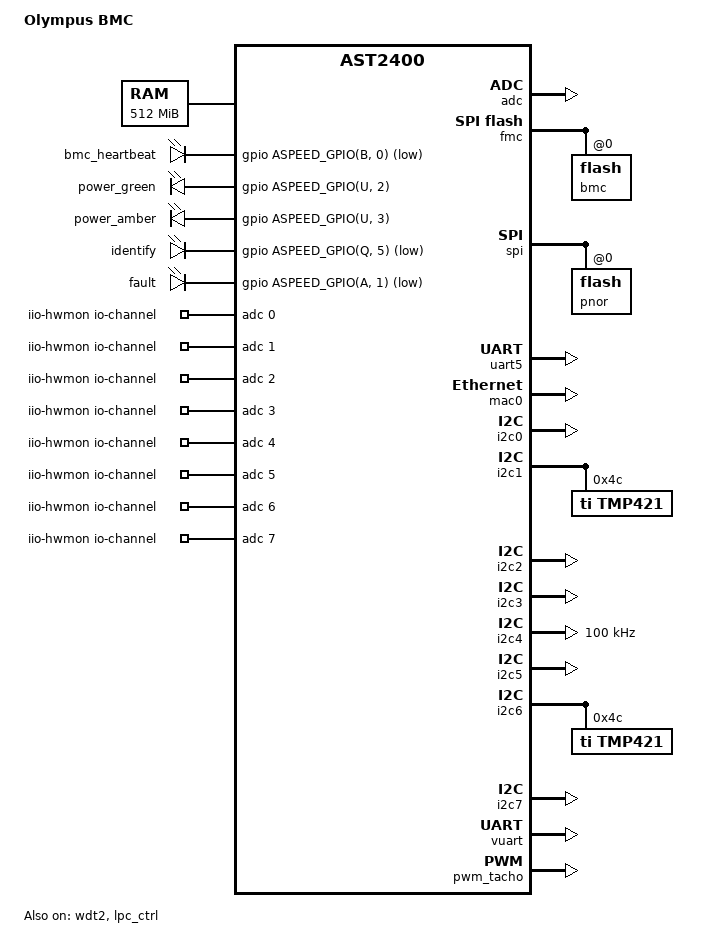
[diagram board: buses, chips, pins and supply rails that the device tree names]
//SPDX-License-Identifier: GPL-2.0+

/dts-v1/;

#include "aspeed-g4.dtsi"
#include <dt-bindings/gpio/aspeed-gpio.h>

/ {
	model = "Olympus BMC";
	compatible = "microsoft,olympus-bmc", "aspeed,ast2400";

	chosen {
		stdout-path = &uart5;
		bootargs = "console=ttyS4,115200 earlyprintk";
	};

	memory@40000000 {
		reg = <0x40000000 0x20000000>;
	};

	reserved-memory {
		#address-cells = <1>;
		#size-cells = <1>;
		ranges;

		vga_memory: framebuffer@5f000000 {
			no-map;
			reg = <0x5f000000 0x01000000>; /* 16M */
		};
	};

	leds {
		compatible = "gpio-leds";

		bmc_heartbeat {
			gpios = <&gpio ASPEED_GPIO(B, 0) GPIO_ACTIVE_LOW>;
		};

		power_green {
			gpios = <&gpio ASPEED_GPIO(U, 2) GPIO_ACTIVE_HIGH>;
		};

		power_amber {
			gpios = <&gpio ASPEED_GPIO(U, 3) GPIO_ACTIVE_HIGH>;
		};

		identify {
			gpios = <&gpio ASPEED_GPIO(Q, 5) GPIO_ACTIVE_LOW>;
		};

		fault {
			gpios = <&gpio ASPEED_GPIO(A, 1) GPIO_ACTIVE_LOW>;
		};
	};


	iio-hwmon {
		compatible = "iio-hwmon";
		io-channels = <&adc 0>, <&adc 1>, <&adc 2>, <&adc 3>,
		<&adc 4>, <&adc 5>, <&adc 6>, <&adc 7>;
	};
};

&adc {
	status = "okay";
	pinctrl-names = "default";
	pinctrl-0 =    <&pinctrl_adc0_default
			&pinctrl_adc1_default
			&pinctrl_adc2_default
			&pinctrl_adc3_default
			&pinctrl_adc4_default
			&pinctrl_adc5_default
			&pinctrl_adc6_default
			&pinctrl_adc7_default>;
};

&fmc {
	status = "okay";

	flash@0 {
		status = "okay";
		m25p,fast-read;
		label = "bmc";
#include "openbmc-flash-layout.dtsi"
	};
};

&spi {
	status = "okay";
	pinctrl-names = "default";
	pinctrl-0 = <&pinctrl_spi1_default>;

	flash@0 {
		status = "okay";
		m25p,fast-read;
		label = "pnor";
	};
};

&uart5 {
	status = "okay";
};

&mac0 {
	status = "okay";

	pinctrl-names = "default";
	pinctrl-0 = <&pinctrl_rgmii1_default &pinctrl_mdio1_default>;
};

&i2c0 {
	status = "okay";
};

&i2c1 {
	status = "okay";

	tmp421@4c {
		compatible = "ti,tmp421";
		reg = <0x4c>;
	};
};

&i2c2 {
	status = "okay";
};

&i2c3 {
	status = "okay";
};

&i2c4 {
	status = "okay";
	clock-frequency = <100000>;
};

&i2c5 {
	status = "okay";
};

&i2c6 {
	status = "okay";

	tmp421@4c {
		compatible = "ti,tmp421";
		reg = <0x4c>;
	};
};

&i2c7 {
	status = "okay";
};

&vuart {
	status = "okay";
};

&wdt2 {
	status = "okay";
};

&lpc_ctrl {
	status = "okay";
};

&pwm_tacho {
	status = "okay";
	pinctrl-names = "default";
	pinctrl-0 =    <&pinctrl_pwm0_default
			&pinctrl_pwm1_default
			&pinctrl_pwm2_default
			&pinctrl_pwm3_default
			&pinctrl_pwm4_default
			&pinctrl_pwm5_default
			&pinctrl_pwm6_default>;

	fan@0 {
		reg = <0x00>;
		aspeed,fan-tach-ch = /bits/ 8 <0x00>;
	};

	fan@1 {
		reg = <0x01>;
		aspeed,fan-tach-ch = /bits/ 8 <0x01>;
	};

	fan@2 {
		reg = <0x02>;
		aspeed,fan-tach-ch = /bits/ 8 <0x02>;
	};

	fan@3 {
		reg = <0x03>;
		aspeed,fan-tach-ch = /bits/ 8 <0x03>;
	};

	fan@4 {
		reg = <0x04>;
		aspeed,fan-tach-ch = /bits/ 8 <0x04>;
	};

	fan@5 {
		reg = <0x05>;
		aspeed,fan-tach-ch = /bits/ 8 <0x05>;
	};

};
